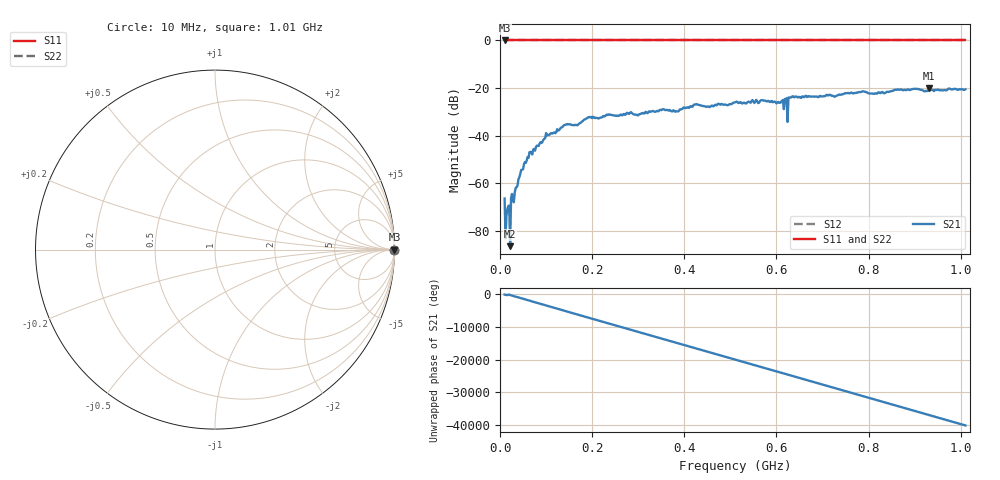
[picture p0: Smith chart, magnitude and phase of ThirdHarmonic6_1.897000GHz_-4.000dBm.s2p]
! 8/16/2025 10:53:51 PM
! C:\ANRITSUVNA\TEMP\TEMP.S2P
! CHANNEL.1
! TR.MEASUREMENT
! RAW.DATA
! RF.CORRECTION.OFF
! AVERAGING.OFF
! IF.BANDWIDTH: 5KHZ
! SWEEPTYPE:  FREQ.SWEEP(Linear)
! Reference Plane Port Info
! PORT:  PORT1  PORT2
! DISTANCE:  0  m  0  m
! TIME:  0  s  0  s
! PHASE.OFFSET:  0  deg.  0  deg.
! LOSS:  0  dB  0  dB
! REF.LOSS:  0  dB  0  dB
! REF.FREQ:  0  Hz  0  Hz
! Power Info
! POWER:  -20  dBm  -20  dBm
! EFF.POWER:  -20  dBm  -20  dBm
! SOURCE.ATTEN:  0  dB  0  dB
! TEST.ATTEN:  0  dB  0  dB
# GHZ S RI R 50.0
! FREQ.GHZ  S11RE  S11IM  S21RE  S21IM  S12RE  S12IM  S22RE  S22IM
!; PortSelection: Port_12
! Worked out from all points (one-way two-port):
!   501 points, 10 MHz to 1.01 GHz, reference 50 ohm
!   highest |S21| = -20.12 dB at 930 MHz (marker M1); lowest = -86.3 dB at 22 MHz (marker M2)
!   lowest |S11| = 0.0 dB at 10 MHz (marker M3)
!   |S11| at or under -10 dB: nowhere
!   |S22| runs from 0.0 to 0.0 dB; largest |S21 - S12| = 1.1
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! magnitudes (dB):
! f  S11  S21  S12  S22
! 10 MHz  0.0  -66.3  0.0  0.0
! 18 MHz  0.0  -69.5  0.0  0.0
! 22 MHz  0.0  -86.3  0.0  0.0
! 26 MHz  0.0  -64.4  0.0  0.0
! 28 MHz  0.0  -66.5  0.0  0.0
! 44 MHz  0.0  -56.0  0.0  0.0
! 64 MHz  0.0  -46.9  0.0  0.0
! 104 MHz  0.0  -39.7  0.0  0.0
! 142 MHz  0.0  -35.4  0.0  0.0
! 178 MHz  0.0  -34.0  0.0  0.0
! 194 MHz  0.0  -32.1  0.0  0.0
! 344 MHz  0.0  -29.8  0.0  0.0
! 384 MHz  0.0  -29.7  0.0  0.0
! 510 MHz  0.0  -26.0  0.0  0.0
! 618 MHz  0.0  -24.6  0.0  0.0
! 620 MHz  0.0  -24.5  0.0  0.0
! 628 MHz  0.0  -23.9  0.0  0.0
! 630 MHz  0.0  -24.0  0.0  0.0
! 678 MHz  0.0  -23.5  0.0  0.0
! 844 MHz  0.0  -21.6  0.0  0.0
! 930 MHz  0.0  -20.1  0.0  0.0
! 1.01 GHz  0.0  -20.5  0.0  0.0
